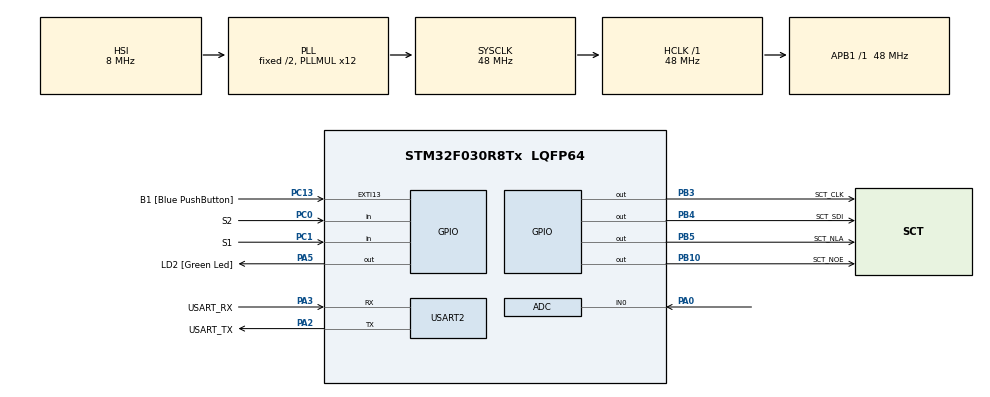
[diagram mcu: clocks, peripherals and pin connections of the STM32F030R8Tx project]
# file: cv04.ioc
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ADC.ContinuousConvMode=ENABLE
ADC.Overrun=ADC_OVR_DATA_OVERWRITTEN
ADC.SamplingTime=ADC_SAMPLETIME_239CYCLES_5
Mcu.Family=STM32F0
Mcu.Name=STM32F030R8Tx
Mcu.Package=LQFP64
NVIC.ADC1_IRQn=true\:0\:0\:false\:false\:true\:true\:true
PA0.Mode=IN0
PA0.Signal=ADC_IN0
PA13.GPIO_Label=TMS
PA13.Mode=Serial_Wire
PA13.Signal=SYS_SWDIO
PA14.GPIO_Label=TCK
PA14.Mode=Serial_Wire
PA14.Signal=SYS_SWCLK
PA2.GPIO_Label=USART_TX
PA2.GPIO_Mode=GPIO_MODE_AF_PP
PA2.GPIO_PuPd=GPIO_NOPULL
PA2.GPIO_Speed=GPIO_SPEED_FREQ_LOW
PA2.Mode=Asynchronous
PA2.Signal=USART2_TX
PA3.GPIO_Label=USART_RX
PA3.GPIO_Mode=GPIO_MODE_AF_PP
PA3.GPIO_PuPd=GPIO_NOPULL
PA3.GPIO_Speed=GPIO_SPEED_FREQ_LOW
PA3.Mode=Asynchronous
PA3.Signal=USART2_RX
PA5.GPIO_Label=LD2 [Green Led]
PA5.GPIO_Mode=GPIO_MODE_OUTPUT_PP
PA5.GPIO_PuPd=GPIO_NOPULL
PA5.GPIO_Speed=GPIO_SPEED_FREQ_LOW
PA5.Signal=GPIO_Output
PB10.GPIO_Label=SCT_NOE
PB10.Signal=GPIO_Output
PB3.GPIO_Label=SCT_CLK
PB3.Signal=GPIO_Output
PB4.GPIO_Label=SCT_SDI
PB4.Signal=GPIO_Output
PB5.GPIO_Label=SCT_NLA
PB5.Signal=GPIO_Output
PC0.GPIO_Label=S2
PC0.GPIO_PuPd=GPIO_PULLUP
PC0.Signal=GPIO_Input
PC1.GPIO_Label=S1
PC1.GPIO_PuPd=GPIO_PULLUP
PC1.Signal=GPIO_Input
PC13.GPIO_Label=B1 [Blue PushButton]
PC13.GPIO_ModeDefaultEXTI=GPIO_MODE_IT_FALLING
PC13.Signal=GPXTI13
PC14-OSC32_IN.Mode=LSE-External-Oscillator
PC14-OSC32_IN.Signal=RCC_OSC32_IN
PC15-OSC32_OUT.Mode=LSE-External-Oscillator
PC15-OSC32_OUT.Signal=RCC_OSC32_OUT
PF0-OSC_IN.Mode=HSE-External-Clock-Source
PF0-OSC_IN.Signal=RCC_OSC_IN
PF1-OSC_OUT.Signal=RCC_OSC_OUT
ProjectManager.HeapSize=0x200
ProjectManager.StackSize=0x400
ProjectManager.TargetToolchain=STM32CubeIDE
RCC.AHBFreq_Value=48000000
RCC.APB1Freq_Value=48000000
RCC.APB1TimFreq_Value=48000000
RCC.HCLKFreq_Value=48000000
RCC.PLLMUL=RCC_PLL_MUL12
RCC.SYSCLKFreq_VALUE=48000000
RCC.SYSCLKSource=RCC_SYSCLKSOURCE_PLLCLK
USART2.VirtualMode-Asynchronous=VM_ASYNC
VP_ADC_TempSens_Input.Mode=IN-TempSens
VP_ADC_Vref_Input.Mode=IN-Vrefint
board=NUCLEO-F030R8

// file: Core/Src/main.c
/* USER CODE BEGIN Header */
/**
  ******************************************************************************
  * @file           : main.c
  * @brief          : Main program body
  ******************************************************************************
  * @attention
  *
  * <h2><center>&copy; Copyright (c) 2020 STMicroelectronics.
  * All rights reserved.</center></h2>
  *
  * This software component is licensed by ST under BSD 3-Clause license,
  * the "License"; You may not use this file except in compliance with the
  * License. You may obtain a copy of the License at:
  *                        opensource.org/licenses/BSD-3-Clause
  *
  ******************************************************************************
  */
/* USER CODE END Header */

#include "main.h"

/* USER CODE BEGIN Includes */
#include "sct.h"
/* USER CODE END Includes */

/* USER CODE BEGIN PD */
#define ADC_Q 12

#define TEMP110_CAL_ADDR ((uint16_t*) ((uint32_t) 0x1FFFF7C2))
#define TEMP30_CAL_ADDR ((uint16_t*) ((uint32_t) 0x1FFFF7B8))

#define VREFINT_CAL_ADDR ((uint16_t*) ((uint32_t) 0x1FFFF7BA))

#define DELAY 1000
/* USER CODE END PD */

ADC_HandleTypeDef hadc;

UART_HandleTypeDef huart2;

void SystemClock_Config(void);
static void MX_GPIO_Init(void);
static void MX_USART2_UART_Init(void);
static void MX_ADC_Init(void);

/* USER CODE BEGIN 0 */
static volatile uint32_t raw_pot;
static volatile uint32_t raw_temp;
static volatile uint32_t raw_volt;

void HAL_ADC_ConvCpltCallback(ADC_HandleTypeDef* hadc)
{
	static uint32_t avg_pot;
	static uint8_t channel;

	if (channel == 0)
	{
		raw_pot = avg_pot >> ADC_Q;
		avg_pot -= raw_pot;
		avg_pot += HAL_ADC_GetValue(hadc);
	}
	else if (channel == 1)
	{
		raw_temp = HAL_ADC_GetValue(hadc);
	}
	else if (channel == 2)
	{
		raw_volt = HAL_ADC_GetValue(hadc);
	}

	if (__HAL_ADC_GET_FLAG(hadc, ADC_FLAG_EOS)) channel = 0;
	else channel++;

	//raw_pot = HAL_ADC_GetValue(hadc);
}
/* USER CODE END 0 */

int main(void)
{

  /* MCU Configuration--------------------------------------------------------*/

  /* Reset of all peripherals, Initializes the Flash interface and the Systick. */
  HAL_Init();

  /* Configure the system clock */
  SystemClock_Config();

  /* Initialize all configured peripherals */
  MX_GPIO_Init();
  MX_USART2_UART_Init();
  MX_ADC_Init();
  /* USER CODE BEGIN 2 */
  HAL_ADCEx_Calibration_Start(&hadc);
  HAL_ADC_Start_IT(&hadc);

  sct_init();

  //GPIOC->PUPDR |= GPIO_PUPDR_PUPDR0_0; // S2 = PC0, pullup
  //GPIOC->PUPDR |= GPIO_PUPDR_PUPDR1_0; // S1 = PC1, pullup

  /* USER CODE END 2 */

  /* Infinite loop */
  /* USER CODE BEGIN WHILE */
  while (1)
  {

	  //sct_value((raw_pot*500)/4096, (raw_pot*9)/4096);
	  //HAL_Delay(50);

	  static uint32_t delay;

	  static enum { SHOW_POT, SHOW_VOLT, SHOW_TEMP } state = SHOW_POT;

	  if (HAL_GPIO_ReadPin(S1_GPIO_Port, S1_Pin) == 0)
	  {
		  state = SHOW_VOLT;
		  delay = HAL_GetTick();
	  }
	  else if (HAL_GPIO_ReadPin(S2_GPIO_Port, S2_Pin) == 0)
	  {
		  state = SHOW_TEMP;
		  delay = HAL_GetTick();
	  }

	  if (state == SHOW_POT)
	  {
		  sct_value((raw_pot*500)/4096, (raw_pot*9)/4096);
		  HAL_Delay(50);

	  }
	  if (state == SHOW_VOLT)
	  {
		  uint32_t voltage = 330 * (*VREFINT_CAL_ADDR) / raw_volt;
		  sct_value(voltage, (raw_pot*9)/4096);

		  if (HAL_GetTick() > delay + DELAY) {
			  GPIOA->ODR ^= (1<<4);
			  state = SHOW_POT;
		  }

	  }
	  if (state == SHOW_TEMP)
	  {
		  int32_t temperature = (raw_temp - (int32_t)(*TEMP30_CAL_ADDR));
		  temperature = temperature * (int32_t)(110 - 30);
		  temperature = temperature / (int32_t)(*TEMP110_CAL_ADDR - *TEMP30_CAL_ADDR);
		  temperature = temperature + 30;

		  sct_value(temperature, (raw_pot*9)/4096);
		  if (HAL_GetTick() > delay + DELAY) {
			  GPIOA->ODR ^= (1<<4);
			  state = SHOW_POT;
		  }

	  }

    /* USER CODE END WHILE */

  }
}

void SystemClock_Config(void)
{
  RCC_OscInitTypeDef RCC_OscInitStruct = {0};
  RCC_ClkInitTypeDef RCC_ClkInitStruct = {0};

  /** Initializes the CPU, AHB and APB busses clocks
  */
  RCC_OscInitStruct.OscillatorType = RCC_OSCILLATORTYPE_HSI|RCC_OSCILLATORTYPE_HSI14;
  RCC_OscInitStruct.HSIState = RCC_HSI_ON;
  RCC_OscInitStruct.HSI14State = RCC_HSI14_ON;
  RCC_OscInitStruct.HSICalibrationValue = RCC_HSICALIBRATION_DEFAULT;
  RCC_OscInitStruct.HSI14CalibrationValue = 16;
  RCC_OscInitStruct.PLL.PLLState = RCC_PLL_ON;
  RCC_OscInitStruct.PLL.PLLSource = RCC_PLLSOURCE_HSI;
  RCC_OscInitStruct.PLL.PLLMUL = RCC_PLL_MUL12;
  RCC_OscInitStruct.PLL.PREDIV = RCC_PREDIV_DIV1;
  if (HAL_RCC_OscConfig(&RCC_OscInitStruct) != HAL_OK)
  {
    Error_Handler();
  }
  /** Initializes the CPU, AHB and APB busses clocks
  */
  RCC_ClkInitStruct.ClockType = RCC_CLOCKTYPE_HCLK|RCC_CLOCKTYPE_SYSCLK
                              |RCC_CLOCKTYPE_PCLK1;
  RCC_ClkInitStruct.SYSCLKSource = RCC_SYSCLKSOURCE_PLLCLK;
  RCC_ClkInitStruct.AHBCLKDivider = RCC_SYSCLK_DIV1;
  RCC_ClkInitStruct.APB1CLKDivider = RCC_HCLK_DIV1;

  if (HAL_RCC_ClockConfig(&RCC_ClkInitStruct, FLASH_LATENCY_1) != HAL_OK)
  {
    Error_Handler();
  }
}

static void MX_ADC_Init(void)
{

  ADC_ChannelConfTypeDef sConfig = {0};

  /** Configure the global features of the ADC (Clock, Resolution, Data Alignment and number of conversion)
  */
  hadc.Instance = ADC1;
  hadc.Init.ClockPrescaler = ADC_CLOCK_ASYNC_DIV1;
  hadc.Init.Resolution = ADC_RESOLUTION_12B;
  hadc.Init.DataAlign = ADC_DATAALIGN_RIGHT;
  hadc.Init.ScanConvMode = ADC_SCAN_DIRECTION_FORWARD;
  hadc.Init.EOCSelection = ADC_EOC_SINGLE_CONV;
  hadc.Init.LowPowerAutoWait = DISABLE;
  hadc.Init.LowPowerAutoPowerOff = DISABLE;
  hadc.Init.ContinuousConvMode = ENABLE;
  hadc.Init.DiscontinuousConvMode = DISABLE;
  hadc.Init.ExternalTrigConv = ADC_SOFTWARE_START;
  hadc.Init.ExternalTrigConvEdge = ADC_EXTERNALTRIGCONVEDGE_NONE;
  hadc.Init.DMAContinuousRequests = DISABLE;
  hadc.Init.Overrun = ADC_OVR_DATA_OVERWRITTEN;
  if (HAL_ADC_Init(&hadc) != HAL_OK)
  {
    Error_Handler();
  }
  /** Configure for the selected ADC regular channel to be converted.
  */
  sConfig.Channel = ADC_CHANNEL_0;
  sConfig.Rank = ADC_RANK_CHANNEL_NUMBER;
  sConfig.SamplingTime = ADC_SAMPLETIME_239CYCLES_5;
  if (HAL_ADC_ConfigChannel(&hadc, &sConfig) != HAL_OK)
  {
    Error_Handler();
  }
  /** Configure for the selected ADC regular channel to be converted.
  */
  sConfig.Channel = ADC_CHANNEL_TEMPSENSOR;
  if (HAL_ADC_ConfigChannel(&hadc, &sConfig) != HAL_OK)
  {
    Error_Handler();
  }
  /** Configure for the selected ADC regular channel to be converted.
  */
  sConfig.Channel = ADC_CHANNEL_VREFINT;
  if (HAL_ADC_ConfigChannel(&hadc, &sConfig) != HAL_OK)
  {
    Error_Handler();
  }

}

static void MX_USART2_UART_Init(void)
{

  huart2.Instance = USART2;
  huart2.Init.BaudRate = 38400;
  huart2.Init.WordLength = UART_WORDLENGTH_8B;
  huart2.Init.StopBits = UART_STOPBITS_1;
  huart2.Init.Parity = UART_PARITY_NONE;
  huart2.Init.Mode = UART_MODE_TX_RX;
  huart2.Init.HwFlowCtl = UART_HWCONTROL_NONE;
  huart2.Init.OverSampling = UART_OVERSAMPLING_16;
  huart2.Init.OneBitSampling = UART_ONE_BIT_SAMPLE_DISABLE;
  huart2.AdvancedInit.AdvFeatureInit = UART_ADVFEATURE_NO_INIT;
  if (HAL_UART_Init(&huart2) != HAL_OK)
  {
    Error_Handler();
  }

}

static void MX_GPIO_Init(void)
{
  GPIO_InitTypeDef GPIO_InitStruct = {0};

  /* GPIO Ports Clock Enable */
  __HAL_RCC_GPIOC_CLK_ENABLE();
  __HAL_RCC_GPIOF_CLK_ENABLE();
  __HAL_RCC_GPIOA_CLK_ENABLE();
  __HAL_RCC_GPIOB_CLK_ENABLE();

  /*Configure GPIO pin Output Level */
  HAL_GPIO_WritePin(LD2_GPIO_Port, LD2_Pin, GPIO_PIN_RESET);

  /*Configure GPIO pin Output Level */
  HAL_GPIO_WritePin(GPIOB, SCT_NOE_Pin|SCT_CLK_Pin|SCT_SDI_Pin|SCT_NLA_Pin, GPIO_PIN_RESET);

  /*Configure GPIO pin : B1_Pin */
  GPIO_InitStruct.Pin = B1_Pin;
  GPIO_InitStruct.Mode = GPIO_MODE_IT_FALLING;
  GPIO_InitStruct.Pull = GPIO_NOPULL;
  HAL_GPIO_Init(B1_GPIO_Port, &GPIO_InitStruct);

  /*Configure GPIO pins : S2_Pin S1_Pin */
  GPIO_InitStruct.Pin = S2_Pin|S1_Pin;
  GPIO_InitStruct.Mode = GPIO_MODE_INPUT;
  GPIO_InitStruct.Pull = GPIO_PULLUP;
  HAL_GPIO_Init(GPIOC, &GPIO_InitStruct);

  /*Configure GPIO pin : LD2_Pin */
  GPIO_InitStruct.Pin = LD2_Pin;
  GPIO_InitStruct.Mode = GPIO_MODE_OUTPUT_PP;
  GPIO_InitStruct.Pull = GPIO_NOPULL;
  GPIO_InitStruct.Speed = GPIO_SPEED_FREQ_LOW;
  HAL_GPIO_Init(LD2_GPIO_Port, &GPIO_InitStruct);

  /*Configure GPIO pins : SCT_NOE_Pin SCT_CLK_Pin SCT_SDI_Pin SCT_NLA_Pin */
  GPIO_InitStruct.Pin = SCT_NOE_Pin|SCT_CLK_Pin|SCT_SDI_Pin|SCT_NLA_Pin;
  GPIO_InitStruct.Mode = GPIO_MODE_OUTPUT_PP;
  GPIO_InitStruct.Pull = GPIO_NOPULL;
  GPIO_InitStruct.Speed = GPIO_SPEED_FREQ_LOW;
  HAL_GPIO_Init(GPIOB, &GPIO_InitStruct);

}

void Error_Handler(void)
{
}

/************************ (C) COPYRIGHT STMicroelectronics *****END OF FILE****/
